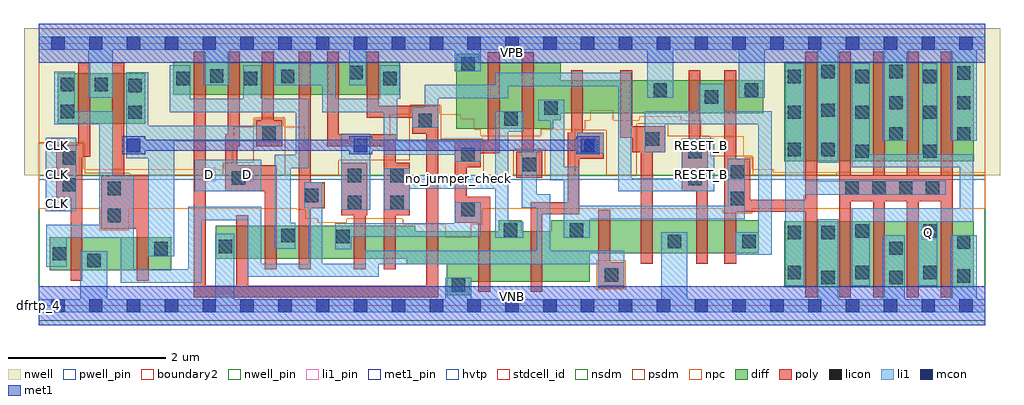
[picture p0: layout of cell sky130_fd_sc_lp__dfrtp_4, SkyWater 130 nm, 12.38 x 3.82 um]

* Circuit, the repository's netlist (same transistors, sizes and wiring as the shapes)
* Copyright 2020 The SkyWater PDK Authors
*
* Licensed under the Apache License, Version 2.0 (the "License");
* you may not use this file except in compliance with the License.
* You may obtain a copy of the License at
*
*     https://www.apache.org/licenses/LICENSE-2.0
*
* Unless required by applicable law or agreed to in writing, software
* distributed under the License is distributed on an "AS IS" BASIS,
* WITHOUT WARRANTIES OR CONDITIONS OF ANY KIND, either express or implied.
* See the License for the specific language governing permissions and
* limitations under the License.
*
* SPDX-License-Identifier: Apache-2.0

.SUBCKT sky130_fd_sc_lp__dfrtp_4 CLK D RESET_B VGND VNB VPB VPWR Q
*.PININFO CLK:I D:I RESET_B:I VGND:I VNB:I VPB:I VPWR:I Q:O
MI46 clkpos clkneg VGND VNB sky130_fd_pr__nfet_01v8 m=1 w=0.42U l=0.15U mult=1
+ sa=0.265 sb=0.265 sd=0.28 area=0.063 perim=1.14
MI42 db clkneg M0 VNB sky130_fd_pr__nfet_01v8 m=1 w=0.42U l=0.15U mult=1 sa=0.265
+ sb=0.265 sd=0.28 area=0.063 perim=1.14
MI656 net86 s0 net116 VNB sky130_fd_pr__nfet_01v8 m=1 w=0.42U l=0.15U mult=1 sa=0.265
+ sb=0.265 sd=0.28 area=0.063 perim=1.14
MI657 net116 RESET_B VGND VNB sky130_fd_pr__nfet_01v8 m=1 w=0.42U l=0.15U mult=1
+ sa=0.265 sb=0.265 sd=0.28 area=0.063 perim=1.14
MI33 net109 RESET_B VGND VNB sky130_fd_pr__nfet_01v8 m=1 w=0.42U l=0.15U mult=1
+ sa=0.265 sb=0.265 sd=0.28 area=0.063 perim=1.14
MI4 M0 clkpos net101 VNB sky130_fd_pr__nfet_01v8 m=1 w=0.42U l=0.15U mult=1 sa=0.265
+ sb=0.265 sd=0.28 area=0.063 perim=1.14
MI34 net101 M1 net109 VNB sky130_fd_pr__nfet_01v8 m=1 w=0.42U l=0.15U mult=1 sa=0.265
+ sb=0.265 sd=0.28 area=0.063 perim=1.14
MI655 s0 clkneg net85 VNB sky130_fd_pr__nfet_01v8 m=1 w=0.42U l=0.15U mult=1 sa=0.265
+ sb=0.265 sd=0.28 area=0.063 perim=1.14
MI652 net153 s0 VGND VNB sky130_fd_pr__nfet_01v8 m=1 w=0.84U l=0.15U mult=1 sa=0.265
+ sb=0.265 sd=0.28 area=0.063 perim=1.14
MI653 Q net153 VGND VNB sky130_fd_pr__nfet_01v8 m=4 w=0.84U l=0.15U mult=1 sa=0.265
+ sb=0.265 sd=0.28 area=0.063 perim=1.14
MI654 net85 net86 VGND VNB sky130_fd_pr__nfet_01v8 m=1 w=0.42U l=0.15U mult=1 sa=0.265
+ sb=0.265 sd=0.28 area=0.063 perim=1.14
MI44 clkneg CLK VGND VNB sky130_fd_pr__nfet_01v8 m=1 w=0.42U l=0.15U mult=1 sa=0.265
+ sb=0.265 sd=0.28 area=0.063 perim=1.14
MI647 M1 M0 VGND VNB sky130_fd_pr__nfet_01v8 m=1 w=0.64U l=0.15U mult=1 sa=0.265
+ sb=0.265 sd=0.28 area=0.063 perim=1.14
MI39 db D net69 VNB sky130_fd_pr__nfet_01v8 m=1 w=0.42U l=0.15U mult=1 sa=0.265
+ sb=0.265 sd=0.28 area=0.063 perim=1.14
MI38 net69 RESET_B VGND VNB sky130_fd_pr__nfet_01v8 m=1 w=0.42U l=0.15U mult=1
+ sa=0.265 sb=0.265 sd=0.28 area=0.063 perim=1.14
MI649 M1 clkpos s0 VNB sky130_fd_pr__nfet_01v8 m=1 w=0.64U l=0.15U mult=1 sa=0.265
+ sb=0.265 sd=0.28 area=0.063 perim=1.14
MI47 clkpos clkneg VPWR VPB sky130_fd_pr__pfet_01v8_hvt m=1 w=0.64U l=0.15U mult=1
+ sa=0.265 sb=0.265 sd=0.28 area=0.063 perim=1.14
MI43 db clkpos M0 VPB sky130_fd_pr__pfet_01v8_hvt m=1 w=0.42U l=0.15U mult=1 sa=0.265
+ sb=0.265 sd=0.28 area=0.063 perim=1.14
MI662 net172 net86 VPWR VPB sky130_fd_pr__pfet_01v8_hvt m=1 w=0.42U l=0.15U mult=1
+ sa=0.265 sb=0.265 sd=0.28 area=0.063 perim=1.14
MI659 net86 RESET_B VPWR VPB sky130_fd_pr__pfet_01v8_hvt m=1 w=0.42U l=0.15U mult=1
+ sa=0.265 sb=0.265 sd=0.28 area=0.063 perim=1.14
MI664 s0 clkpos net172 VPB sky130_fd_pr__pfet_01v8_hvt m=1 w=0.42U l=0.15U mult=1
+ sa=0.265 sb=0.265 sd=0.28 area=0.063 perim=1.14
MI658 net86 s0 VPWR VPB sky130_fd_pr__pfet_01v8_hvt m=1 w=0.42U l=0.15U mult=1
+ sa=0.265 sb=0.265 sd=0.28 area=0.063 perim=1.14
MI30 net160 M1 VPWR VPB sky130_fd_pr__pfet_01v8_hvt m=1 w=0.42U l=0.15U mult=1
+ sa=0.265 sb=0.265 sd=0.28 area=0.063 perim=1.14
MI31 M0 clkneg net160 VPB sky130_fd_pr__pfet_01v8_hvt m=1 w=0.42U l=0.15U mult=1
+ sa=0.265 sb=0.265 sd=0.28 area=0.063 perim=1.14
MI32 M0 RESET_B VPWR VPB sky130_fd_pr__pfet_01v8_hvt m=1 w=0.42U l=0.15U mult=1
+ sa=0.265 sb=0.265 sd=0.28 area=0.063 perim=1.14
MI663 net153 s0 VPWR VPB sky130_fd_pr__pfet_01v8_hvt m=1 w=1.26U l=0.15U mult=1
+ sa=0.265 sb=0.265 sd=0.28 area=0.063 perim=1.14
MI660 Q net153 VPWR VPB sky130_fd_pr__pfet_01v8_hvt m=4 w=1.26U l=0.15U mult=1
+ sa=0.265 sb=0.265 sd=0.28 area=0.063 perim=1.14
MI45 clkneg CLK VPWR VPB sky130_fd_pr__pfet_01v8_hvt m=1 w=0.64U l=0.15U mult=1
+ sa=0.265 sb=0.265 sd=0.28 area=0.063 perim=1.14
MI648 M1 M0 VPWR VPB sky130_fd_pr__pfet_01v8_hvt m=1 w=0.84U l=0.15U mult=1 sa=0.265
+ sb=0.265 sd=0.28 area=0.063 perim=1.14
MI41 db RESET_B VPWR VPB sky130_fd_pr__pfet_01v8_hvt m=1 w=0.42U l=0.15U mult=1
+ sa=0.265 sb=0.265 sd=0.28 area=0.063 perim=1.14
MI40 db D VPWR VPB sky130_fd_pr__pfet_01v8_hvt m=1 w=0.42U l=0.15U mult=1 sa=0.265
+ sb=0.265 sd=0.28 area=0.063 perim=1.14
MI650 M1 clkneg s0 VPB sky130_fd_pr__pfet_01v8_hvt m=1 w=0.84U l=0.15U mult=1 sa=0.265
+ sb=0.265 sd=0.28 area=0.063 perim=1.14
.ENDS sky130_fd_sc_lp__dfrtp_4

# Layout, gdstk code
import gdstk
lib = gdstk.Library(unit=1e-6, precision=1e-09)
def R(c, l, rs):  # rectangles x0, y0, x1, y1
    for r in rs: c.add(gdstk.rectangle(r[:2], r[2:], *l))
def A(c, l, x, y, w, h, nx, ny, dx, dy):  # array of equal rectangles
    R(c, l, [(x+i*dx, y+j*dy, x+i*dx+w, y+j*dy+h) for i in range(nx) for j in range(ny)])
def P(c, l, *ps):  # polygons
    for p in ps: c.add(gdstk.Polygon(p, *l))
nwell_pin = (64, 16)
nwell = (64, 20)
diff = (65, 20)
poly = (66, 20)
licon = (66, 44)
li1_pin = (67, 16)
li1 = (67, 20)
mcon = (67, 44)
met1_pin = (68, 16)
met1 = (68, 20)
hvtp = (78, 44)
stdcell_id = (81, 4)
nsdm = (93, 44)
psdm = (94, 20)
npc = (95, 20)
pwell_pin = (122, 16)
boundary2 = (236, 0)

sky130_fd_sc_lp__dfrtp_4 = lib.new_cell('sky130_fd_sc_lp__dfrtp_4')
R(sky130_fd_sc_lp__dfrtp_4, nwell_pin, [(0,3.085,12,3.33)])
R(sky130_fd_sc_lp__dfrtp_4, nwell, [(-0.19,1.655,12.19,3.52)])
R(sky130_fd_sc_lp__dfrtp_4, diff, [(9.455,0.235,11.855,1.075), (0.135,0.45,1.675,0.87), (9.455,1.835,11.855,3.095), (0.235,2.31,1.345,2.95), (1.7,2.675,4.575,3.095)])
P(sky130_fd_sc_lp__dfrtp_4, diff, [(9.13,1.085),(6.495,1.085),(6.495,0.945),(6.125,0.945),(6.125,1.085),(5.835,1.085),(5.835,0.945),(4.775,0.945),(4.775,1.015),(2.24,1.015),(2.24,0.595),(4.665,0.595),(4.665,0.525),(5.175,0.525),(5.175,0.135),(5.465,0.135),(5.465,0.305),(6.985,0.305),(6.985,0.665),(9.13,0.665)],
  [(9.185,2.86),(6.62,2.86),(6.62,3.085),(5.585,3.085),(5.585,3.195),(5.295,3.195),(5.295,2.245),(6.525,2.245),(6.525,2.355),(6.62,2.355),(6.62,2.44),(9.185,2.44)])
P(sky130_fd_sc_lp__dfrtp_4, poly, [(0.65,3.08),(0.5,3.08),(0.5,2.04),(0.22,2.04),(0.22,1.37),(0.4,1.37),(0.4,0.32),(0.55,0.32),(0.55,1.89),(0.65,1.89)],
  [(1.39,1.65),(1.08,1.65),(1.08,3.08),(0.93,3.08),(0.93,1.65),(0.79,1.65),(0.79,0.98),(1.24,0.98),(1.24,0.32),(1.39,0.32)],
  [(3.015,1.785),(2.515,1.785),(2.515,2.025),(2.545,2.025),(2.545,3.225),(2.395,3.225),(2.395,2.175),(2.365,2.175),(2.365,1.455),(2.865,1.455),(2.865,0.465),(3.015,0.465)],
  [(3.085,2.355),(2.975,2.355),(2.975,3.225),(2.825,3.225),(2.825,2.355),(2.755,2.355),(2.755,2.025),(3.085,2.025)],
  [(3.625,1.565),(3.445,1.565),(3.445,3.225),(3.295,3.225),(3.295,0.465),(3.445,0.465),(3.445,1.235),(3.625,1.235)],
  [(4.165,1.815),(3.835,1.815),(3.835,1.145),(3.995,1.145),(3.995,0.465),(4.145,0.465),(4.145,1.145),(4.165,1.145)],
  [(4.705,1.815),(4.525,1.815),(4.525,2.175),(3.805,2.175),(3.805,3.225),(3.655,3.225),(3.655,2.025),(4.375,2.025),(4.375,0.465),(4.525,0.465),(4.525,1.145),(4.705,1.145)],
  [(5.065,2.535),(4.31,2.535),(4.31,3.225),(4.16,3.225),(4.16,2.385),(4.735,2.385),(4.735,2.185),(4.915,2.185),(4.915,0.255),(2.655,0.255),(2.655,1.145),(2.505,1.145),(2.505,0.255),(2.115,0.255),(2.115,3.225),(1.965,3.225),(1.965,0.105),(5.065,0.105)],
  [(5.845,3.215),(5.695,3.215),(5.695,2.085),(5.275,2.085),(5.275,1.055),(5.575,1.055),(5.575,0.175),(5.725,0.175),(5.725,1.385),(5.425,1.385),(5.425,1.755),(5.605,1.755),(5.605,1.935),(5.845,1.935)],
  [(6.385,1.955),(6.275,1.955),(6.275,3.215),(6.125,3.215),(6.125,1.955),(6.055,1.955),(6.055,1.625),(6.385,1.625)],
  [(7.165,2.195),(6.9,2.195),(6.9,2.99),(6.75,2.99),(6.75,2.195),(6.705,2.195),(6.705,1.31),(6.235,1.31),(6.235,0.175),(6.385,0.175),(6.385,1.16),(6.855,1.16),(6.855,1.865),(7.165,1.865)],
  [(7.425,0.555),(7.245,0.555),(7.245,1.215),(7.095,1.215),(7.095,0.225),(7.425,0.225)],
  [(7.945,2.28),(7.525,2.28),(7.525,2.99),(7.375,2.99),(7.375,2.13),(7.525,2.13),(7.525,1.95),(7.635,1.95),(7.635,0.535),(7.785,0.535),(7.785,1.95),(7.945,1.95)],
  [(8.485,2.12),(8.39,2.12),(8.39,2.99),(8.24,2.99),(8.24,2.12),(8.155,2.12),(8.155,1.45),(8.335,1.45),(8.335,0.535),(8.485,0.535)],
  [(9.87,3.225),(9.72,3.225),(9.72,1.345),(9.025,1.345),(9.025,1.865),(8.845,1.865),(8.845,2.99),(8.695,2.99),(8.695,0.535),(8.845,0.535),(8.845,1.195),(9.72,1.195),(9.72,0.105),(9.87,0.105)],
  [(11.59,3.225),(11.44,3.225),(11.44,1.655),(11.16,1.655),(11.16,3.225),(11.01,3.225),(11.01,1.655),(10.73,1.655),(10.73,3.225),(10.58,3.225),(10.58,1.655),(10.3,1.655),(10.3,3.225),(10.15,3.225),(10.15,0.105),(10.3,0.105),(10.3,1.325),(10.58,1.325),(10.58,0.105),(10.73,0.105),(10.73,1.325),(11.01,1.325),(11.01,0.105),(11.16,0.105),(11.16,1.325),(11.44,1.325),(11.44,0.105),(11.59,0.105)])
A(sky130_fd_sc_lp__dfrtp_4, licon, 9.495, 0.335, 0.17, 0.17, 3, 2, 0.86, 2.035)
A(sky130_fd_sc_lp__dfrtp_4, licon, 10.23, 1.405, 0.17, 0.17, 4, 1, 0.34, 0)
A(sky130_fd_sc_lp__dfrtp_4, licon, 10.785, 2.095, 0.17, 0.17, 1, 3, 0, 0.395)
A(sky130_fd_sc_lp__dfrtp_4, licon, 9.495, 2.825, 0.17, 0.17, 3, 1, 0.86, 0)
R(sky130_fd_sc_lp__dfrtp_4, licon, [(5.235,0.175,5.405,0.345), (9.925,0.275,10.095,0.445), (10.785,0.275,10.955,0.445), (11.645,0.295,11.815,0.465), (7.175,0.305,7.345,0.475), (0.615,0.49,0.785,0.66), (0.175,0.575,0.345,0.745), (1.465,0.64,1.635,0.81), (10.785,0.645,10.955,0.815), (2.28,0.665,2.45,0.835), (11.645,0.725,11.815,0.895), (7.975,0.73,8.145,0.9), (8.92,0.73,9.09,0.9), (3.77,0.795,3.94,0.965), (3.07,0.805,3.24,0.975), (9.495,0.845,9.665,1.015), (9.925,0.845,10.095,1.015), (10.355,0.865,10.525,1.035), (11.215,0.865,11.385,1.035), (5.895,0.875,6.065,1.045), (6.735,0.875,6.905,1.045), (0.87,1.06,1.04,1.23), (5.355,1.135,5.525,1.305), (3.915,1.225,4.085,1.395), (4.455,1.225,4.625,1.395), (8.775,1.275,8.945,1.445), (3.375,1.315,3.545,1.485), (0.87,1.4,1.04,1.57), (0.3,1.45,0.47,1.62), (8.235,1.53,8.405,1.7), (2.445,1.535,2.615,1.705), (3.915,1.565,4.085,1.735), (4.455,1.565,4.625,1.735), (8.775,1.615,8.945,1.785), (6.135,1.705,6.305,1.875), (0.3,1.79,0.47,1.96), (5.355,1.835,5.525,2.005), (8.235,1.87,8.405,2.04), (10.355,1.875,10.525,2.045), (11.215,1.875,11.385,2.045), (9.495,1.895,9.665,2.065), (9.925,1.895,10.095,2.065), (6.915,1.945,7.085,2.115), (7.695,2.03,7.865,2.2), (11.645,2.095,11.815,2.265), (2.835,2.105,3.005,2.275), (4.815,2.265,4.985,2.435), (5.9,2.285,6.07,2.455), (1.135,2.37,1.305,2.54), (0.275,2.38,0.445,2.55), (9.925,2.395,10.095,2.565), (6.41,2.425,6.58,2.595), (11.645,2.49,11.815,2.66), (8.445,2.565,8.615,2.735), (7.795,2.65,7.965,2.82), (8.955,2.65,9.125,2.82), (1.135,2.71,1.305,2.88), (0.275,2.72,0.445,2.89), (0.705,2.72,0.875,2.89), (1.74,2.8,1.91,2.97), (2.6,2.8,2.77,2.97), (4.365,2.8,4.535,2.97), (3.07,2.825,3.24,2.995), (2.17,2.83,2.34,3), (11.645,2.865,11.815,3.035), (3.935,2.875,4.105,3.045), (9.925,2.885,10.095,3.055), (5.355,2.985,5.525,3.155)])
A(sky130_fd_sc_lp__dfrtp_4, li1_pin, 0.155, 1.21, 0.17, 0.17, 1, 3, 0, 0.37)
R(sky130_fd_sc_lp__dfrtp_4, li1_pin, [(11.195,0.84,11.365,1.01), (2.075,1.58,2.245,1.75), (2.555,1.58,2.725,1.75), (8.315,1.58,8.485,1.75), (8.315,1.95,8.485,2.12)])
R(sky130_fd_sc_lp__dfrtp_4, li1, [(0.085,1.2,0.47,2.13), (3.835,1.215,4.205,2.18), (1.975,1.455,2.82,1.85), (6.83,1.935,7.165,2.195)])
P(sky130_fd_sc_lp__dfrtp_4, li1, [(3.935,2.795),(3.935,3.245),(2.42,3.245),(2.42,2.795),(2.09,2.795),(2.09,3.245),(0.935,3.245),(0.935,2.64),(0.625,2.64),(0.625,3.245),(0,3.245),(0,3.415),(12,3.415),(12,3.245),(11.895,3.245),(11.895,2.095),(11.565,2.095),(11.565,3.245),(11.035,3.245),(11.035,2.095),(10.705,2.095),(10.705,3.245),(10.14,3.245),(10.14,1.815),(9.88,1.815),(9.88,3.245),(9.205,3.245),(9.205,2.64),(8.875,2.64),(8.875,3.245),(8.045,3.245),(8.045,2.64),(7.715,2.64),(7.715,3.245),(5.605,3.245),(5.605,2.975),(5.275,2.975),(5.275,3.245),(4.15,3.245),(4.15,2.795)],
  [(2.235,0.085),(2.235,0.915),(2.48,0.915),(2.48,0.085),(5.155,0.085),(5.155,0.355),(5.485,0.355),(5.485,0.085),(7.895,0.085),(7.895,0.93),(8.225,0.93),(8.225,0.085),(9.88,0.085),(9.88,1.095),(10.14,1.095),(10.14,0.085),(10.705,0.085),(10.705,0.895),(10.98,0.895),(10.98,0.085),(11.565,0.085),(11.565,0.895),(11.895,0.895),(11.895,0.085),(12,0.085),(12,-0.085),(0,-0.085),(0,0.085),(0.525,0.085),(0.525,0.69),(0.865,0.69),(0.865,0.085)],
  [(9.71,1.585),(11.5,1.585),(11.5,1.405),(9.71,1.405),(9.71,0.255),(9.465,0.255),(9.465,3.075),(9.71,3.075)],
  [(8.365,2.47),(8.365,2.815),(8.695,2.815),(8.695,2.47),(9.295,2.47),(9.295,0.65),(8.84,0.65),(8.84,0.93),(9.125,0.93),(9.125,2.3),(7.945,2.3),(7.945,1.95),(7.685,1.95),(7.685,2.47)],
  [(1.105,1.87),(1.105,2.96),(1.385,2.96),(1.385,2.285),(3.085,2.285),(3.085,2.085),(1.715,2.085),(1.715,0.63),(1.385,0.63),(1.385,1.87)],
  [(7.345,1.45),(7.345,2.785),(5.955,2.785),(5.955,2.635),(5.065,2.635),(5.065,2.255),(4.735,2.255),(4.735,2.52),(4.895,2.52),(4.895,2.805),(5.785,2.805),(5.785,2.955),(7.515,2.955),(7.515,1.62),(8.155,1.62),(8.155,2.12),(8.565,2.12),(8.565,1.45)],
  [(4.14,0.535),(4.14,0.695),(6.315,0.695),(6.315,1.245),(6.125,1.245),(6.125,1.955),(6.315,1.955),(6.315,1.415),(6.485,1.415),(6.485,0.695),(7.425,0.695),(7.425,0.255),(7.095,0.255),(7.095,0.525),(4.31,0.525),(4.31,0.365),(2.65,0.365),(2.65,1.085),(2.065,1.085),(2.065,0.29),(1.035,0.29),(1.035,0.86),(0.355,0.86),(0.355,0.495),(0.095,0.495),(0.095,1.03),(0.765,1.03),(0.765,2.3),(0.195,2.3),(0.195,2.97),(0.455,2.97),(0.455,2.47),(0.935,2.47),(0.935,1.65),(1.205,1.65),(1.205,0.46),(1.895,0.46),(1.895,1.255),(2.82,1.255),(2.82,0.535),(3.42,0.535),(3.42,1.235),(3.365,1.235),(3.365,1.565),(3.59,1.565),(3.59,0.535)],
  [(2.82,2.625),(3.425,2.625),(3.425,1.745),(3.195,1.745),(3.195,1.055),(3.25,1.055),(3.25,0.725),(2.99,0.725),(2.99,1.915),(3.255,1.915),(3.255,2.455),(1.66,2.455),(1.66,3.05),(1.92,3.05),(1.92,2.625),(2.59,2.625),(2.59,3.05),(2.82,3.05)],
  [(10.535,1.925),(11.205,1.925),(11.205,3.075),(11.395,3.075),(11.395,1.925),(11.85,1.925),(11.85,1.065),(11.395,1.065),(11.395,0.255),(11.15,0.255),(11.15,1.065),(10.535,1.065),(10.535,0.255),(10.31,0.255),(10.31,1.235),(11.68,1.235),(11.68,1.755),(10.31,1.755),(10.31,3.075),(10.535,3.075)],
  [(6.66,1.765),(6.845,1.765),(6.845,1.27),(8.735,1.27),(8.735,1.865),(8.955,1.865),(8.955,1.1),(6.985,1.1),(6.985,0.865),(6.655,0.865),(6.655,1.595),(6.485,1.595),(6.485,2.345),(6.33,2.345),(6.33,2.615),(6.66,2.615)],
  [(5.955,2.205),(5.955,1.065),(6.145,1.065),(6.145,0.865),(5.785,0.865),(5.785,1.485),(4.705,1.485),(4.705,1.215),(4.375,1.215),(4.375,1.745),(4.705,1.745),(4.705,1.655),(5.785,1.655),(5.785,2.465),(6.15,2.465),(6.15,2.205)],
  [(3.765,3.075),(3.765,2.625),(4.32,2.625),(4.32,3.05),(4.585,3.05),(4.585,2.625),(4.545,2.625),(4.545,2.085),(5.605,2.085),(5.605,1.825),(5.275,1.825),(5.275,1.915),(4.375,1.915),(4.375,2.455),(3.595,2.455),(3.595,2.795),(2.99,2.795),(2.99,3.075)],
  [(5.275,1.045),(5.275,1.315),(5.605,1.315),(5.605,0.875),(3.96,0.875),(3.96,0.715),(3.76,0.715),(3.76,1.045)])
A(sky130_fd_sc_lp__dfrtp_4, mcon, 0.155, -0.085, 0.17, 0.17, 25, 2, 0.48, 3.33)
A(sky130_fd_sc_lp__dfrtp_4, mcon, 1.115, 1.95, 0.17, 0.17, 3, 1, 2.88, 0)
R(sky130_fd_sc_lp__dfrtp_4, met1_pin, [(0,0,12,0.245), (0,3.085,12,3.33)])
R(sky130_fd_sc_lp__dfrtp_4, met1, [(0,-0.245,12,0.245), (0,3.085,12,3.575)])
P(sky130_fd_sc_lp__dfrtp_4, met1, [(4.225,2.105),(6.815,2.105),(6.815,2.15),(7.105,2.15),(7.105,1.92),(6.815,1.92),(6.815,1.965),(4.225,1.965),(4.225,1.92),(3.935,1.92),(3.935,1.965),(1.345,1.965),(1.345,1.92),(1.055,1.92),(1.055,2.15),(1.345,2.15),(1.345,2.105),(3.935,2.105),(3.935,2.15),(4.225,2.15)])
R(sky130_fd_sc_lp__dfrtp_4, hvtp, [(0,1.6,12,3.33)])
R(sky130_fd_sc_lp__dfrtp_4, stdcell_id, [(0,0,12,3.33)])
R(sky130_fd_sc_lp__dfrtp_4, nsdm, [(0,-0.19,12,1.655)])
P(sky130_fd_sc_lp__dfrtp_4, psdm, [(12,3.52),(0,3.52),(0,2.07),(0.58,2.07),(0.58,1.68),(1.15,1.68),(1.15,1.655),(2.335,1.655),(2.335,1.815),(2.725,1.815),(2.725,2.385),(3.115,2.385),(3.115,1.655),(3.805,1.655),(3.805,1.845),(4.705,1.845),(4.705,2.545),(5.095,2.545),(5.095,2.115),(5.635,2.115),(5.635,1.655),(6.025,1.655),(6.025,1.985),(6.415,1.985),(6.415,1.655),(6.805,1.655),(6.805,2.225),(7.195,2.225),(7.195,1.655),(7.585,1.655),(7.585,2.31),(7.975,2.31),(7.975,2.15),(8.515,2.15),(8.515,1.895),(9.055,1.895),(9.055,1.655),(10.12,1.655),(10.12,1.685),(11.53,1.685),(11.53,1.655),(12,1.655)])
R(sky130_fd_sc_lp__dfrtp_4, npc, [(7.075,0.205,7.445,0.575)])
P(sky130_fd_sc_lp__dfrtp_4, npc, [(12,1.695),(9.315,1.695),(9.315,1.73),(9.045,1.73),(9.045,1.885),(8.94,1.885),(8.94,2.15),(8.4,2.15),(8.4,2.35),(8.15,2.35),(8.15,2.405),(7.615,2.405),(7.615,2.35),(7.285,2.35),(7.285,2.48),(6.99,2.48),(6.99,2.35),(6.92,2.35),(6.92,2.24),(6.365,2.24),(6.365,2.155),(5.605,2.155),(5.605,2.24),(5.52,2.24),(5.52,2.37),(5.35,2.37),(5.35,2.43),(5.085,2.43),(5.085,2.535),(4.715,2.535),(4.715,2.43),(4.45,2.43),(4.45,2.1),(3.37,2.1),(3.37,2.27),(3.105,2.27),(3.105,2.375),(2.735,2.375),(2.735,2.27),(2.47,2.27),(2.47,2.07),(2.45,2.07),(2.45,1.805),(2.345,1.805),(2.345,1.73),(0.57,1.73),(0.57,2.06),(0,2.06),(0,1.23),(0.77,1.23),(0.77,0.96),(1.14,0.96),(1.14,1.23),(3.275,1.23),(3.275,1.215),(3.38,1.215),(3.38,1.105),(3.535,1.105),(3.535,1.055),(3.905,1.055),(3.905,1.105),(4.615,1.105),(4.615,1.035),(5.155,1.035),(5.155,0.86),(5.485,0.86),(5.485,1.035),(5.625,1.035),(5.625,1.23),(8.675,1.23),(8.675,1.175),(9.045,1.175),(9.045,1.23),(12,1.23)])
R(sky130_fd_sc_lp__dfrtp_4, pwell_pin, [(0,0,12,0.245)])
R(sky130_fd_sc_lp__dfrtp_4, boundary2, [(0,0,12,3.33)])
sky130_fd_sc_lp__dfrtp_4.add(gdstk.Label('VNB', (6,0.123), layer=64, texttype=59))
sky130_fd_sc_lp__dfrtp_4.add(gdstk.Label('VPB', (6,3.208), layer=64, texttype=5))
sky130_fd_sc_lp__dfrtp_4.add(gdstk.Label('dfrtp_4', (0,0), layer=83, texttype=44))
sky130_fd_sc_lp__dfrtp_4.add(gdstk.Label('no_jumper_check', (5.325,1.61), layer=83, texttype=44))
sky130_fd_sc_lp__dfrtp_4.add(gdstk.Label('VPWR', (6,3.208), layer=68, texttype=5))
sky130_fd_sc_lp__dfrtp_4.add(gdstk.Label('VGND', (6,0.123), layer=68, texttype=5))
sky130_fd_sc_lp__dfrtp_4.add(gdstk.Label('RESET_B', (8.4,1.665), layer=67, texttype=5))
sky130_fd_sc_lp__dfrtp_4.add(gdstk.Label('RESET_B', (8.4,2.035), layer=67, texttype=5))
sky130_fd_sc_lp__dfrtp_4.add(gdstk.Label('CLK', (0.24,1.295), layer=67, texttype=5))
sky130_fd_sc_lp__dfrtp_4.add(gdstk.Label('CLK', (0.24,1.665), layer=67, texttype=5))
sky130_fd_sc_lp__dfrtp_4.add(gdstk.Label('CLK', (0.24,2.035), layer=67, texttype=5))
sky130_fd_sc_lp__dfrtp_4.add(gdstk.Label('D', (2.16,1.665), layer=67, texttype=5))
sky130_fd_sc_lp__dfrtp_4.add(gdstk.Label('D', (2.64,1.665), layer=67, texttype=5))
sky130_fd_sc_lp__dfrtp_4.add(gdstk.Label('Q', (11.28,0.925), layer=67, texttype=5))

lib.write_gds('sky130_fd_sc_lp__dfrtp_4.gds')
